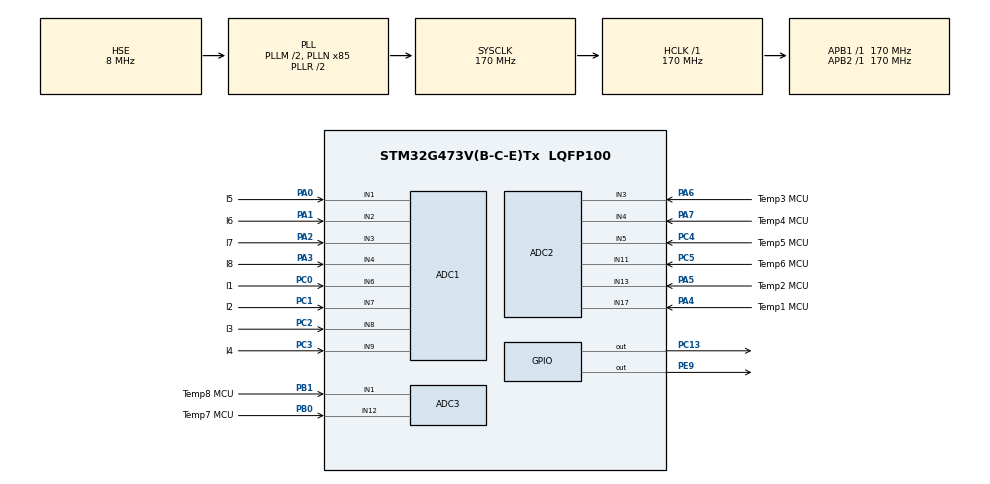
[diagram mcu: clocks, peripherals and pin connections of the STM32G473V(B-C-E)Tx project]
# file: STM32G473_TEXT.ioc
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ADC1.AWD1HighThreshold=3102
ADC1.AWD1ITMode=ENABLE
ADC1.AWD1LowThreshold=2481
ADC1.Channel-10\#ChannelRegularConversion=ADC_CHANNEL_8
ADC1.Channel-11\#ChannelRegularConversion=ADC_CHANNEL_9
ADC1.Channel-12\#ChannelRegularConversion=ADC_CHANNEL_1
ADC1.Channel-13\#ChannelRegularConversion=ADC_CHANNEL_2
ADC1.Channel-14\#ChannelRegularConversion=ADC_CHANNEL_3
ADC1.Channel-15\#ChannelRegularConversion=ADC_CHANNEL_4
ADC1.Channel-8\#ChannelRegularConversion=ADC_CHANNEL_6
ADC1.Channel-9\#ChannelRegularConversion=ADC_CHANNEL_7
ADC1.ContinuousConvMode=ENABLE
ADC1.DMAContinuousRequests=ENABLE
ADC1.EOCSelection=ADC_EOC_SEQ_CONV
ADC1.EnableAnalogWatchDog1=true
ADC1.EnableAnalogWatchDog2=false
ADC1.EnableAnalogWatchDog3=false
ADC1.NbrOfConversion=8
ADC1.NbrOfConversionFlag=1
ADC1.OffsetNumber-10\#ChannelRegularConversion=ADC_OFFSET_NONE
ADC1.OffsetNumber-11\#ChannelRegularConversion=ADC_OFFSET_NONE
ADC1.OffsetNumber-12\#ChannelRegularConversion=ADC_OFFSET_NONE
ADC1.OffsetNumber-13\#ChannelRegularConversion=ADC_OFFSET_NONE
ADC1.OffsetNumber-14\#ChannelRegularConversion=ADC_OFFSET_NONE
ADC1.OffsetNumber-15\#ChannelRegularConversion=ADC_OFFSET_NONE
ADC1.OffsetNumber-8\#ChannelRegularConversion=ADC_OFFSET_NONE
ADC1.OffsetNumber-9\#ChannelRegularConversion=ADC_OFFSET_NONE
ADC1.OversamplingMode=DISABLE
ADC1.Rank-10\#ChannelRegularConversion=3
ADC1.Rank-11\#ChannelRegularConversion=4
ADC1.Rank-12\#ChannelRegularConversion=5
ADC1.Rank-13\#ChannelRegularConversion=6
ADC1.Rank-14\#ChannelRegularConversion=7
ADC1.Rank-15\#ChannelRegularConversion=8
ADC1.Rank-8\#ChannelRegularConversion=1
ADC1.Rank-9\#ChannelRegularConversion=2
ADC1.SamplingTime-10\#ChannelRegularConversion=ADC_SAMPLETIME_2CYCLES_5
ADC1.SamplingTime-11\#ChannelRegularConversion=ADC_SAMPLETIME_2CYCLES_5
ADC1.SamplingTime-12\#ChannelRegularConversion=ADC_SAMPLETIME_2CYCLES_5
ADC1.SamplingTime-13\#ChannelRegularConversion=ADC_SAMPLETIME_2CYCLES_5
ADC1.SamplingTime-14\#ChannelRegularConversion=ADC_SAMPLETIME_2CYCLES_5
ADC1.SamplingTime-15\#ChannelRegularConversion=ADC_SAMPLETIME_2CYCLES_5
ADC1.SamplingTime-8\#ChannelRegularConversion=ADC_SAMPLETIME_2CYCLES_5
ADC1.SamplingTime-9\#ChannelRegularConversion=ADC_SAMPLETIME_2CYCLES_5
ADC1.WatchdogMode=ADC_ANALOGWATCHDOG_ALL_REG
ADC1.master=1
ADC2.AWD1HighThreshold=3000
ADC2.AWD1ITMode=ENABLE
ADC2.AWD1LowThreshold=2000
ADC2.Channel-0\#ChannelRegularConversion=ADC_CHANNEL_17
ADC2.Channel-1\#ChannelRegularConversion=ADC_CHANNEL_13
ADC2.Channel-2\#ChannelRegularConversion=ADC_CHANNEL_3
ADC2.Channel-3\#ChannelRegularConversion=ADC_CHANNEL_4
ADC2.Channel-4\#ChannelRegularConversion=ADC_CHANNEL_5
ADC2.Channel-5\#ChannelRegularConversion=ADC_CHANNEL_11
ADC2.ContinuousConvMode=ENABLE
ADC2.DMAContinuousRequests=ENABLE
ADC2.EOCSelection=ADC_EOC_SEQ_CONV
ADC2.EnableAnalogWatchDog1=true
ADC2.NbrOfConversion=6
ADC2.NbrOfConversionFlag=1
ADC2.OffsetNumber-1\#ChannelRegularConversion=ADC_OFFSET_NONE
ADC2.OffsetNumber-2\#ChannelRegularConversion=ADC_OFFSET_NONE
ADC2.OffsetNumber-3\#ChannelRegularConversion=ADC_OFFSET_NONE
ADC2.OffsetNumber-4\#ChannelRegularConversion=ADC_OFFSET_NONE
ADC2.OffsetNumber-5\#ChannelRegularConversion=ADC_OFFSET_NONE
ADC2.Rank-1\#ChannelRegularConversion=2
ADC2.Rank-2\#ChannelRegularConversion=3
ADC2.Rank-3\#ChannelRegularConversion=4
ADC2.Rank-4\#ChannelRegularConversion=5
ADC2.Rank-5\#ChannelRegularConversion=6
ADC2.SamplingTime-1\#ChannelRegularConversion=ADC_SAMPLETIME_2CYCLES_5
ADC2.SamplingTime-2\#ChannelRegularConversion=ADC_SAMPLETIME_2CYCLES_5
ADC2.SamplingTime-3\#ChannelRegularConversion=ADC_SAMPLETIME_2CYCLES_5
ADC2.SamplingTime-4\#ChannelRegularConversion=ADC_SAMPLETIME_2CYCLES_5
ADC2.SamplingTime-5\#ChannelRegularConversion=ADC_SAMPLETIME_2CYCLES_5
ADC2.WatchdogMode=ADC_ANALOGWATCHDOG_ALL_REG
ADC3.Channel-0\#ChannelRegularConversion=ADC_CHANNEL_12
ADC3.Channel-1\#ChannelRegularConversion=ADC_CHANNEL_1
ADC3.ContinuousConvMode=ENABLE
ADC3.EOCSelection=ADC_EOC_SEQ_CONV
ADC3.NbrOfConversion=2
ADC3.NbrOfConversionFlag=1
ADC3.OffsetNumber-0\#ChannelRegularConversion=ADC_OFFSET_NONE
ADC3.OffsetNumber-1\#ChannelRegularConversion=ADC_OFFSET_NONE
ADC3.Rank-0\#ChannelRegularConversion=1
ADC3.Rank-1\#ChannelRegularConversion=2
ADC3.SamplingTime-0\#ChannelRegularConversion=ADC_SAMPLETIME_2CYCLES_5
ADC3.SamplingTime-1\#ChannelRegularConversion=ADC_SAMPLETIME_2CYCLES_5
ADC3.master=1
Dma.ADC1.0.Direction=DMA_PERIPH_TO_MEMORY
Dma.ADC1.0.EventEnable=DISABLE
Dma.ADC1.0.Instance=DMA1_Channel1
Dma.ADC1.0.MemDataAlignment=DMA_MDATAALIGN_WORD
Dma.ADC1.0.MemInc=DMA_MINC_ENABLE
Dma.ADC1.0.Mode=DMA_CIRCULAR
Dma.ADC1.0.PeriphDataAlignment=DMA_PDATAALIGN_WORD
Dma.ADC1.0.PeriphInc=DMA_PINC_DISABLE
Dma.ADC1.0.Polarity=HAL_DMAMUX_REQ_GEN_RISING
Dma.ADC1.0.Priority=DMA_PRIORITY_LOW
Dma.ADC1.0.RequestNumber=1
Dma.ADC1.0.SignalID=NONE
Dma.ADC1.0.SyncEnable=DISABLE
Dma.ADC1.0.SyncPolarity=HAL_DMAMUX_SYNC_NO_EVENT
Dma.ADC1.0.SyncRequestNumber=1
Dma.ADC1.0.SyncSignalID=NONE
Dma.ADC2.1.Direction=DMA_PERIPH_TO_MEMORY
Dma.ADC2.1.EventEnable=DISABLE
Dma.ADC2.1.Instance=DMA2_Channel1
Dma.ADC2.1.MemDataAlignment=DMA_MDATAALIGN_WORD
Dma.ADC2.1.MemInc=DMA_MINC_ENABLE
Dma.ADC2.1.Mode=DMA_CIRCULAR
Dma.ADC2.1.PeriphDataAlignment=DMA_PDATAALIGN_WORD
Dma.ADC2.1.PeriphInc=DMA_PINC_DISABLE
Dma.ADC2.1.Polarity=HAL_DMAMUX_REQ_GEN_RISING
Dma.ADC2.1.Priority=DMA_PRIORITY_LOW
Dma.ADC2.1.RequestNumber=1
Dma.ADC2.1.SignalID=NONE
Dma.ADC2.1.SyncEnable=DISABLE
Dma.ADC2.1.SyncPolarity=HAL_DMAMUX_SYNC_NO_EVENT
Dma.ADC2.1.SyncRequestNumber=1
Dma.ADC2.1.SyncSignalID=NONE
Dma.ADC3.2.Direction=DMA_PERIPH_TO_MEMORY
Dma.ADC3.2.EventEnable=DISABLE
Dma.ADC3.2.Instance=DMA2_Channel2
Dma.ADC3.2.MemDataAlignment=DMA_MDATAALIGN_WORD
Dma.ADC3.2.MemInc=DMA_MINC_ENABLE
Dma.ADC3.2.Mode=DMA_CIRCULAR
Dma.ADC3.2.PeriphDataAlignment=DMA_PDATAALIGN_WORD
Dma.ADC3.2.PeriphInc=DMA_PINC_DISABLE
Dma.ADC3.2.Polarity=HAL_DMAMUX_REQ_GEN_RISING
Dma.ADC3.2.Priority=DMA_PRIORITY_LOW
Dma.ADC3.2.RequestNumber=1
Dma.ADC3.2.SignalID=NONE
Dma.ADC3.2.SyncEnable=DISABLE
Dma.ADC3.2.SyncPolarity=HAL_DMAMUX_SYNC_NO_EVENT
Dma.ADC3.2.SyncRequestNumber=1
Dma.ADC3.2.SyncSignalID=NONE
Dma.Request0=ADC1
Dma.Request1=ADC2
Dma.Request2=ADC3
Mcu.Family=STM32G4
Mcu.Name=STM32G473V(B-C-E)Tx
Mcu.Package=LQFP100
NVIC.ADC1_2_IRQn=true\:0\:0\:false\:false\:true\:true\:true\:true
NVIC.ADC3_IRQn=true\:0\:0\:false\:false\:true\:true\:true\:true
NVIC.DMA1_Channel1_IRQn=true\:0\:0\:true\:false\:true\:false\:true\:true
NVIC.DMA2_Channel1_IRQn=true\:0\:0\:false\:false\:true\:false\:true\:true
NVIC.DMA2_Channel2_IRQn=true\:0\:0\:false\:false\:true\:false\:true\:true
NVIC.PriorityGroup=NVIC_PRIORITYGROUP_4
PA0.GPIO_Label=I5
PA0.Mode=IN1-Single-Ended
PA0.Signal=ADC1_IN1
PA1.GPIO_Label=I6
PA1.Mode=IN2-Single-Ended
PA1.Signal=ADC1_IN2
PA13.GPIO_Label=SWDIO
PA13.Mode=Serial_Wire
PA13.Signal=SYS_JTMS-SWDIO
PA14.GPIO_Label=SWCLK
PA14.Mode=Serial_Wire
PA14.Signal=SYS_JTCK-SWCLK
PA2.GPIO_Label=I7
PA2.Mode=IN3-Single-Ended
PA2.Signal=ADC1_IN3
PA3.GPIO_Label=I8
PA3.Mode=IN4-Single-Ended
PA3.Signal=ADC1_IN4
PA4.GPIO_Label=Temp1 MCU
PA4.GPIO_Mode=GPIO_MODE_ANALOG
PA4.GPIO_PuPd=GPIO_NOPULL
PA4.Mode=IN17-Single-Ended
PA4.Signal=ADC2_IN17
PA5.GPIO_Label=Temp2 MCU
PA5.GPIO_Mode=GPIO_MODE_ANALOG
PA5.GPIO_PuPd=GPIO_NOPULL
PA5.Mode=IN13-Single-Ended
PA5.Signal=ADC2_IN13
PA6.GPIO_Label=Temp3 MCU
PA6.GPIO_Mode=GPIO_MODE_ANALOG
PA6.GPIO_PuPd=GPIO_NOPULL
PA6.Mode=IN3-Single-Ended
PA6.Signal=ADC2_IN3
PA7.GPIO_Label=Temp4 MCU
PA7.GPIO_Mode=GPIO_MODE_ANALOG
PA7.GPIO_PuPd=GPIO_NOPULL
PA7.Mode=IN4-Single-Ended
PA7.Signal=ADC2_IN4
PB0.GPIO_Label=Temp7 MCU
PB0.Mode=IN12-Single-Ended
PB0.Signal=ADC3_IN12
PB1.GPIO_Label=Temp8 MCU
PB1.Mode=IN1-Single-Ended
PB1.Signal=ADC3_IN1
PC0.GPIO_Label=I1
PC0.Mode=IN6-Single-Ended
PC0.Signal=ADC1_IN6
PC1.GPIO_Label=I2
PC1.Mode=IN7-Single-Ended
PC1.Signal=ADC1_IN7
PC13.PinState=GPIO_PIN_SET
PC13.Signal=GPIO_Output
PC2.GPIO_Label=I3
PC2.Mode=IN8-Single-Ended
PC2.Signal=ADC1_IN8
PC3.GPIO_Label=I4
PC3.Mode=IN9-Single-Ended
PC3.Signal=ADC1_IN9
PC4.GPIO_Label=Temp5 MCU
PC4.GPIO_Mode=GPIO_MODE_ANALOG
PC4.GPIO_PuPd=GPIO_NOPULL
PC4.Mode=IN5-Single-Ended
PC4.Signal=ADC2_IN5
PC5.GPIO_Label=Temp6 MCU
PC5.GPIO_Mode=GPIO_MODE_ANALOG
PC5.GPIO_PuPd=GPIO_NOPULL
PC5.Mode=IN11-Single-Ended
PC5.Signal=ADC2_IN11
PE9.PinState=GPIO_PIN_SET
PE9.Signal=GPIO_Output
PF0-OSC_IN.Mode=HSE-External-Oscillator
PF0-OSC_IN.Signal=RCC_OSC_IN
PF1-OSC_OUT.Mode=HSE-External-Oscillator
PF1-OSC_OUT.Signal=RCC_OSC_OUT
ProjectManager.HeapSize=0x200
ProjectManager.StackSize=0x400
ProjectManager.TargetToolchain=Makefile
RCC.ADC12Freq_Value=170000000
RCC.ADC345Freq_Value=170000000
RCC.AHBFreq_Value=170000000
RCC.APB1Freq_Value=170000000
RCC.APB1TimFreq_Value=170000000
RCC.APB2Freq_Value=170000000
RCC.APB2TimFreq_Value=170000000
RCC.CortexFreq_Value=170000000
RCC.EXTERNAL_CLOCK_VALUE=12288000
RCC.HCLKFreq_Value=170000000
RCC.HSE_VALUE=8000000
RCC.HSI48_VALUE=48000000
RCC.HSI_VALUE=16000000
RCC.LSE_VALUE=32768
RCC.PLLM=RCC_PLLM_DIV2
RCC.PLLN=85
RCC.PLLSourceVirtual=RCC_PLLSOURCE_HSE
RCC.SYSCLKFreq_VALUE=170000000
RCC.SYSCLKSource=RCC_SYSCLKSOURCE_PLLCLK
RCC.USBFreq_Value=170000000
RCC.VCOOutputFreq_Value=340000000
VP_SYS_VS_DBSignals.Mode=DisableDeadBatterySignals
board=custom

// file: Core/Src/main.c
/* USER CODE BEGIN Header */
/**
  ******************************************************************************
  * @file           : main.c
  * @brief          : Main program body
  ******************************************************************************
  * @attention
  *
  * Copyright (c) 2024 STMicroelectronics.
  * All rights reserved.
  *
  * This software is licensed under terms that can be found in the LICENSE file
  * in the root directory of this software component.
  * If no LICENSE file comes with this software, it is provided AS-IS.
  *
  ******************************************************************************
  */
/* USER CODE END Header */
#include "main.h"
#include "adc.h"
#include "dma.h"
#include "gpio.h"

/* USER CODE BEGIN Includes */
int ubAnalogWatchdogStatus = RESET ;  //模拟看门狗中断标志位
int TeAnalogWatchdogStatus = RESET;   //模拟看门狗温度检测中断标志位
int Magic = 0 ;
/* USER CODE END Includes */

/* USER CODE BEGIN PTD */
uint32_t Current_buffer[Current_buffer_LEN];   /*八路电流采集存放地址*/
uint32_t Tempter_buffer[Tempter_buffer_LEN];   /*八路温度采集存放地址*/
uint32_t tempter_A[6];
uint32_t tempter_B[2];
uint32_t Volt_buffer[Volt_buffer_LEN];
uint32_t Watt_buffer[Watt_buffer_LEN];

/* USER CODE END PTD */

/* USER CODE BEGIN PM */
/*void lvbo_Cut_value ()  //滤波处理
{
    int i, j, temp;
    for (i = 1; i <= 7; i++)//外层循环是比较的轮数，数组内??8个数，那么就应该比较8-1=7??
    {
        for (j = 0; j <=7 - i; j++)//内层循环比较的是当前??轮的比较次数，例如：第一轮比??8-1=7次，第二轮比??8-2=6??
        {
            if (Current_buffer[j] > Current_buffer[j + 1])//相邻两个数如果???序，则交换位置
            {
                temp = n[j];
                n[j] = n[j + 1];
                n[j + 1] = temp;
            }
        }
    }
}*/
//void Crt_Prt()
//{
//unsigned int sandard = 4096;
//    for(int i =0 ;i < 8;i++)
//    {
//
//    }
//
//}
/* USER CODE END PM */

void SystemClock_Config(void);

int main(void)
{

  /* MCU Configuration--------------------------------------------------------*/

  /* Reset of all peripherals, Initializes the Flash interface and the Systick. */
  HAL_Init();

  /* Configure the system clock */
  SystemClock_Config();

  /* Initialize all configured peripherals */
  MX_GPIO_Init();
  MX_DMA_Init();
  MX_ADC1_Init();
  MX_ADC2_Init();
  MX_ADC3_Init();
  /* USER CODE BEGIN 2 */
//    HAL_ADCEx_Calibration_Start(&hadc1);
  //  HAL_ADC_Start_DMA(&hadc1);
  //  HAL_ADC_Start_IT(&hadc1);
   // HAL_ADC_Start_IT(&hadc2);
  /* USER CODE END 2 */

  /* Infinite loop */
   while (1)
  {

    /* USER CODE BEGIN 3 */
      Current_getvalue();
      Tempter_getvalue_A();
      switch(Magic)
      {
          case 0 :HAL_GPIO_WritePin(GPIOE,GPIO_PIN_9,GPIO_PIN_SET);
              HAL_GPIO_WritePin(GPIOC,GPIO_PIN_13,GPIO_PIN_SET);
              break;
          case 1 :HAL_GPIO_WritePin(GPIOE,GPIO_PIN_9,GPIO_PIN_RESET);
              HAL_GPIO_WritePin(GPIOC,GPIO_PIN_13,GPIO_PIN_RESET);
              ubAnalogWatchdogStatus = RESET;
              Magic = 0;
              break;
          case 2 :HAL_GPIO_WritePin(GPIOE,GPIO_PIN_9,GPIO_PIN_RESET);
              HAL_GPIO_WritePin(GPIOC,GPIO_PIN_13,GPIO_PIN_RESET);
              TeAnalogWatchdogStatus = RESET;
              Magic = 0;
              break;
          case 3 :HAL_GPIO_WritePin(GPIOE,GPIO_PIN_9,GPIO_PIN_RESET);
              HAL_GPIO_WritePin(GPIOC,GPIO_PIN_13,GPIO_PIN_RESET);
              TeAnalogWatchdogStatus = RESET;
              Magic = 0;
              break;

          default: ;
      }
  //    Tempter_getvalue_B();
     // void HAL_NVIC_SetPriority(IRQn_Type IRQn, uint32_t PreemptPriority, uint32_t SubPriority);  //中断优先级
//      HAL_GPIO_WritePin(GPIOC,GPIO_PIN_13,GPIO_PIN_SET);
//      HAL_Delay(IN);
/*电流检测*/
   //   GPIO_PinState pinState=HAL_GPIO_ReadPin(GPIOE,GPIO_PIN_9);
//      if(pinState == GPIO_PIN_RESET)
//      {
//          HAL_GPIO_WritePin(GPIOC,GPIO_PIN_13,GPIO_PIN_RESET);
//      }
//      if (ubAnalogWatchdogStatus)
//      {
////          HAL_GPIO_WritePin(GPIOC,GPIO_PIN_13,GPIO_PIN_RESET);
////          HAL_Delay(50);
//       //   HAL_GPIO_WritePin(GPIOC,GPIO_PIN_13,GPIO_PIN_SET);
//       //   HAL_Delay(50);
//          HAL_GPIO_WritePin(GPIOE,GPIO_PIN_9,GPIO_PIN_RESET);
//          HAL_GPIO_WritePin(GPIOC,GPIO_PIN_13,GPIO_PIN_RESET);
//          ubAnalogWatchdogStatus = RESET;
//      }
//      if (TeAnalogWatchdogStatus)
//      {
//
//          HAL_GPIO_WritePin(GPIOE,GPIO_PIN_9,GPIO_PIN_RESET);
//          HAL_GPIO_WritePin(GPIOC,GPIO_PIN_13,GPIO_PIN_RESET);
//          TeAnalogWatchdogStatus = RESET;
//      }
//      if((ubAnalogWatchdogStatus==RESET) && (TeAnalogWatchdogStatus==RESET))
//      {
//          HAL_GPIO_WritePin(GPIOE,GPIO_PIN_9,GPIO_PIN_SET);
//          HAL_GPIO_WritePin(GPIOC,GPIO_PIN_13,GPIO_PIN_SET);
//       //   HAL_Delay(1000);
//    //      HAL_GPIO_WritePin(GPIOC,GPIO_PIN_13,GPIO_PIN_RESET);
//         // HAL_Delay(1000);
//      }
  }
  /* USER CODE END 3 */
}

void SystemClock_Config(void)
{
  RCC_OscInitTypeDef RCC_OscInitStruct = {0};
  RCC_ClkInitTypeDef RCC_ClkInitStruct = {0};

  /** Configure the main internal regulator output voltage
  */
  HAL_PWREx_ControlVoltageScaling(PWR_REGULATOR_VOLTAGE_SCALE1_BOOST);

  /** Initializes the RCC Oscillators according to the specified parameters
  * in the RCC_OscInitTypeDef structure.
  */
  RCC_OscInitStruct.OscillatorType = RCC_OSCILLATORTYPE_HSE;
  RCC_OscInitStruct.HSEState = RCC_HSE_ON;
  RCC_OscInitStruct.PLL.PLLState = RCC_PLL_ON;
  RCC_OscInitStruct.PLL.PLLSource = RCC_PLLSOURCE_HSE;
  RCC_OscInitStruct.PLL.PLLM = RCC_PLLM_DIV2;
  RCC_OscInitStruct.PLL.PLLN = 85;
  RCC_OscInitStruct.PLL.PLLP = RCC_PLLP_DIV2;
  RCC_OscInitStruct.PLL.PLLQ = RCC_PLLQ_DIV2;
  RCC_OscInitStruct.PLL.PLLR = RCC_PLLR_DIV2;
  if (HAL_RCC_OscConfig(&RCC_OscInitStruct) != HAL_OK)
  {
    Error_Handler();
  }

  /** Initializes the CPU, AHB and APB buses clocks
  */
  RCC_ClkInitStruct.ClockType = RCC_CLOCKTYPE_HCLK|RCC_CLOCKTYPE_SYSCLK
                              |RCC_CLOCKTYPE_PCLK1|RCC_CLOCKTYPE_PCLK2;
  RCC_ClkInitStruct.SYSCLKSource = RCC_SYSCLKSOURCE_PLLCLK;
  RCC_ClkInitStruct.AHBCLKDivider = RCC_SYSCLK_DIV1;
  RCC_ClkInitStruct.APB1CLKDivider = RCC_HCLK_DIV1;
  RCC_ClkInitStruct.APB2CLKDivider = RCC_HCLK_DIV1;

  if (HAL_RCC_ClockConfig(&RCC_ClkInitStruct, FLASH_LATENCY_4) != HAL_OK)
  {
    Error_Handler();
  }
}

void Error_Handler(void)
{
  __disable_irq();
  while (1)
  {
  }
}
